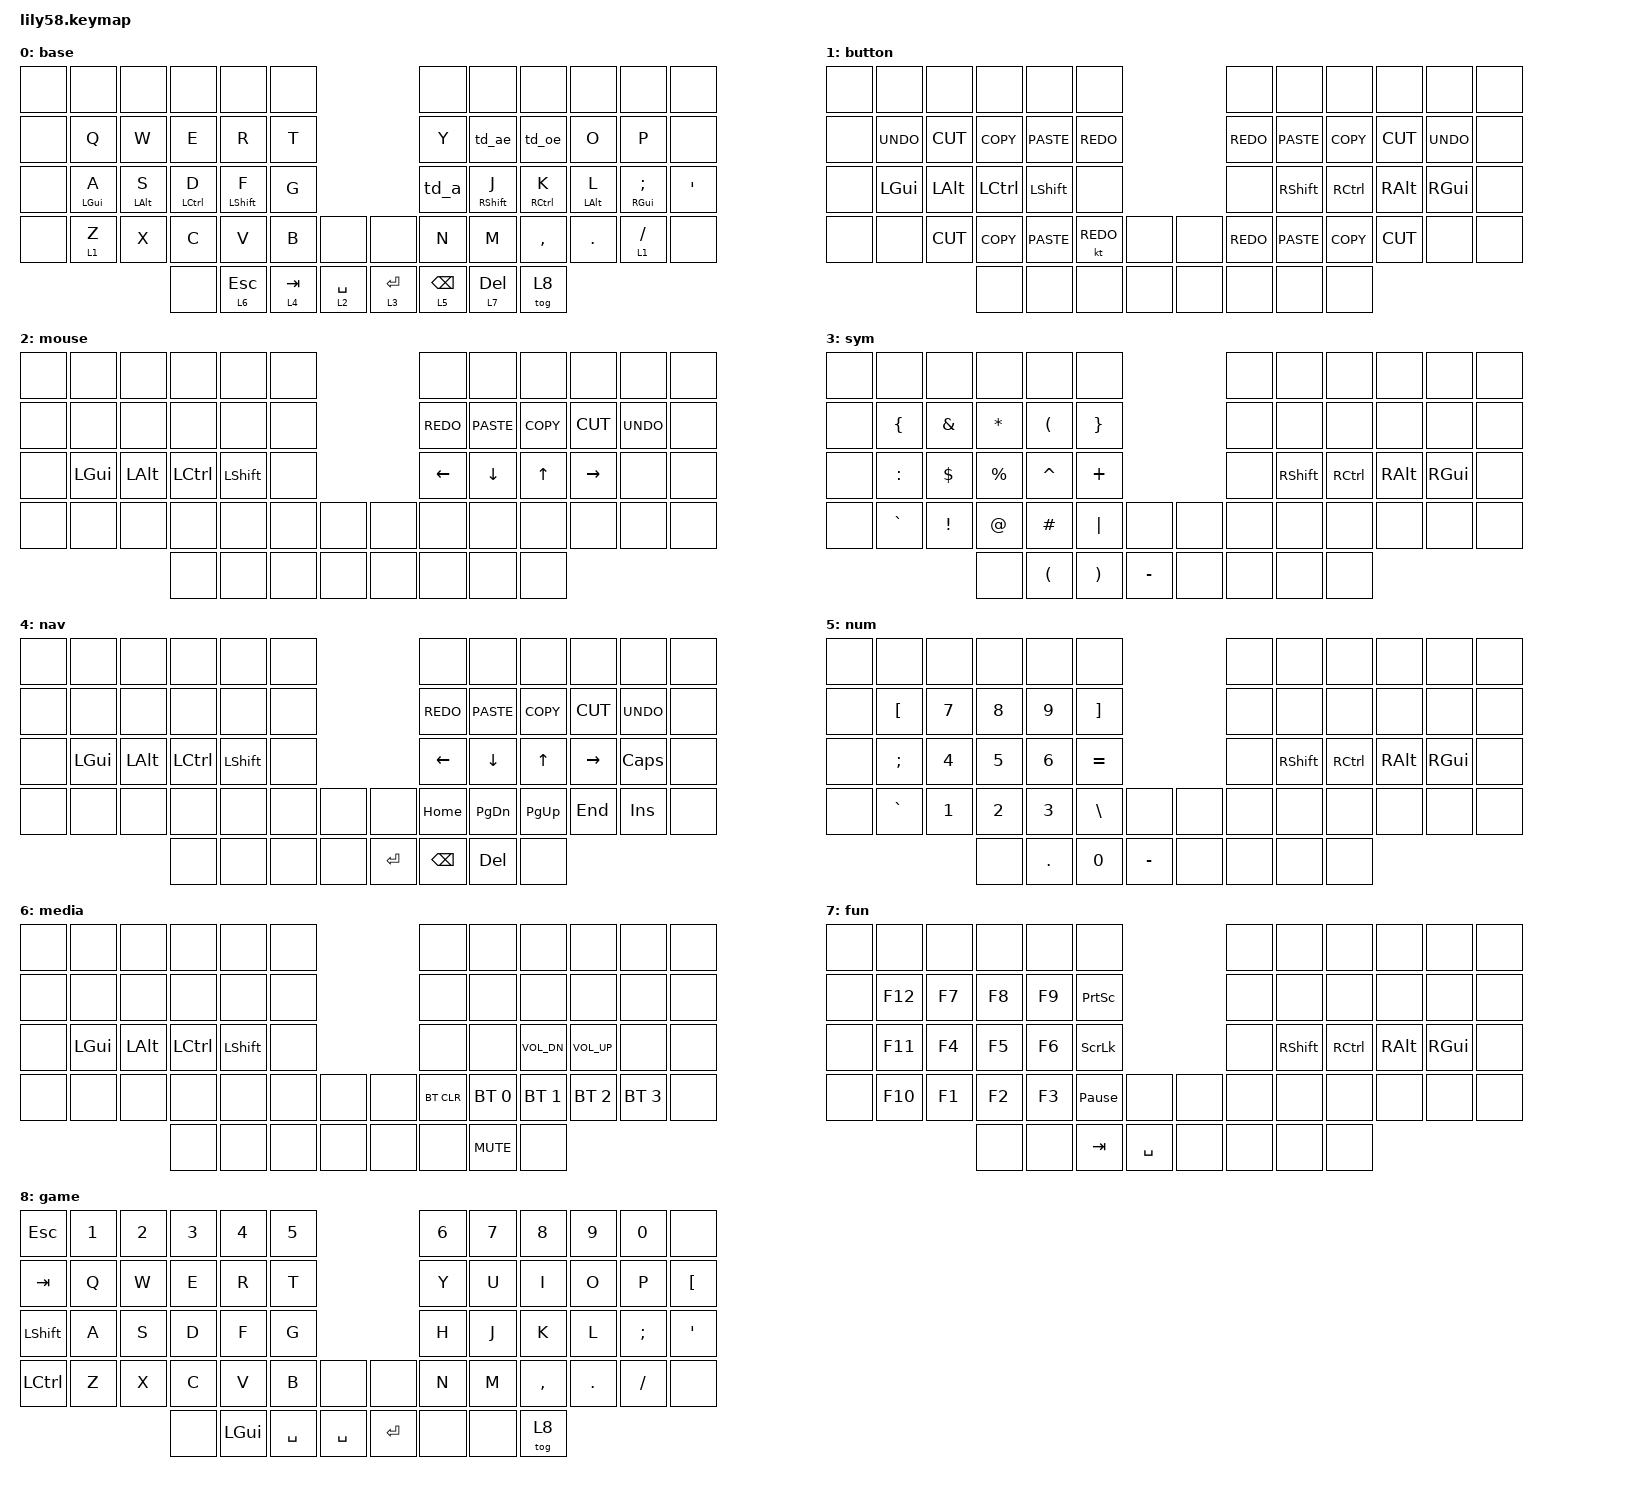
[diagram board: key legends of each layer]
/*
 * Copyright (c) 2020 The ZMK Contributors
 *
 * SPDX-License-Identifier: MIT
 */

#include <behaviors.dtsi>
#include <dt-bindings/zmk/bt.h>
#include <dt-bindings/zmk/keys.h>
#include <dt-bindings/zmk/keys.h>

&mt {
    flavor = "tap-preferred";
    tapping-term-ms = <175>;
};

/ {
    behaviors {
        td_a: td_a {
            compatible = "zmk,behavior-tap-dance";
            label = "TD_A";
            #binding-cells = <0>;
            bindings = <&kp H>, <&kp LA(A)>;

            tapping-term-ms = <150>;
        };

        td_ae: td_ae {
            compatible = "zmk,behavior-tap-dance";
            label = "TD_AE";
            #binding-cells = <0>;
            bindings = <&kp U>, <&ma_ae>;

            tapping-term-ms = <150>;
        };

        td_oe: td_oe {
            compatible = "zmk,behavior-tap-dance";
            label = "TD_OE";
            #binding-cells = <0>;
            bindings = <&kp I>, <&ma_oe>;

            tapping-term-ms = <150>;
        };
    };

    macros {
        ma_ae: ma_a {
            compatible = "zmk,behavior-macro";
            #binding-cells = <0>;
            bindings = <&kp LA(U) &kp A>;
            label = "MA_A";
        };

        ma_oe: ma_oe {
            compatible = "zmk,behavior-macro";
            #binding-cells = <0>;
            bindings = <&kp LA(U) &kp O>;
            label = "MA_OE";
        };
    };

    keymap {
        compatible = "zmk,keymap";

        base {
            // ------------------------------------------------------------------------------------------------------------
            // |  ESC  |  1  |  2  |  3   |  4   |  5   |                   |  6   |  7    |  8    |  9   |   0   |   `   |
            // |  TAB  |  Q  |  W  |  E   |  R   |  T   |                   |  Y   |  U    |  I    |  O   |   P   |   -   |
            // |  CTRL |  A  |  S  |  D   |  F   |  G   |                   |  H   |  J    |  K    |  L   |   ;   |   '   |
            // | SHIFT |  Z  |  X  |  C   |  V   |  B   |   "["  |  |  "]"  |  N   |  M    |  ,    |  .   |   /   | SHIFT |
            //                     | ALT  | GUI  | LOWER|  SPACE |  | ENTER | RAISE| BSPC  | GUI   |

            bindings = <
&none  &none       &none       &none        &none         &none                                   &none            &none         &none        &none       &none               &none
&none  &kp Q       &kp W       &kp E        &kp R         &kp T                                   &kp Y            &td_ae        &td_oe       &kp O       &kp P               &none
&none  &mt LGUI A  &mt LALT S  &mt LCTRL D  &mt LSHIFT F  &kp G                                   &td_a            &mt RSHIFT J  &mt RCTRL K  &mt LALT L  &mt RGUI SEMICOLON  &kp SQT
&none  &lt 1 Z     &kp X       &kp C        &kp V         &kp B      &none          &none         &kp N            &kp M         &kp COMMA    &kp DOT     &lt 1 SLASH         &none
                               &none        &lt 6 ESCAPE  &lt 4 TAB  &lt 2 SPACE    &lt 3 RETURN  &lt 5 BACKSPACE  &lt 7 DELETE  &tog 8
            >;
        };

        button {
            bindings = <
&none  &none       &none      &none       &none        &none                       &none       &none        &none       &none      &none       &none
&none  &kp K_UNDO  &kp K_CUT  &kp K_COPY  &kp K_PASTE  &kp K_REDO                  &kp K_REDO  &kp K_PASTE  &kp K_COPY  &kp K_CUT  &kp K_UNDO  &none
&none  &kp LGUI    &kp LALT   &kp LCTRL   &kp LSHFT    &none                       &none       &kp RSHFT    &kp RCTRL   &kp RALT   &kp RGUI    &none
&none  &none       &kp K_CUT  &kp K_COPY  &kp K_PASTE  &kt K_REDO  &none    &none  &kp K_REDO  &kp K_PASTE  &kp K_COPY  &kp K_CUT  &none       &none
                              &none       &none        &none       &none    &none  &none       &none        &none
            >;
        };

        mouse {
            bindings = <
&none  &none     &none     &none      &none      &none                  &none       &none        &none       &none      &none       &none
&none  &none     &none     &none      &none      &none                  &kp K_REDO  &kp K_PASTE  &kp K_COPY  &kp K_CUT  &kp K_UNDO  &none
&none  &kp LGUI  &kp LALT  &kp LCTRL  &kp LSHFT  &none                  &kp LEFT    &kp DOWN     &kp UP      &kp RIGHT  &none       &none
&none  &none     &none     &none      &none      &none  &none    &none  &none       &none        &none       &none      &none       &none
                           &none      &none      &none  &none    &none  &none       &none        &none
            >;
        };

        sym {
            bindings = <
&none  &none           &none     &none      &none                 &none                                      &none  &none      &none      &none     &none     &none
&none  &kp LEFT_BRACE  &kp AMPS  &kp ASTRK  &kp LEFT_PARENTHESIS  &kp RIGHT_BRACE                            &none  &none      &none      &none     &none     &none
&none  &kp COLON       &kp DLLR  &kp PRCNT  &kp CARET             &kp PLUS                                   &none  &kp RSHFT  &kp RCTRL  &kp RALT  &kp RGUI  &none
&none  &kp GRAVE       &kp EXCL  &kp AT     &kp HASH              &kp PIPE               &none        &none  &none  &none      &none      &none     &none     &none
                                 &none      &kp LEFT_PARENTHESIS  &kp RIGHT_PARENTHESIS  &kp MINUS    &none  &none  &none      &none
            >;
        };

        nav {
            bindings = <
&none  &none     &none     &none      &none      &none                      &none          &none        &none       &none      &none       &none
&none  &none     &none     &none      &none      &none                      &kp K_REDO     &kp K_PASTE  &kp K_COPY  &kp K_CUT  &kp K_UNDO  &none
&none  &kp LGUI  &kp LALT  &kp LCTRL  &kp LSHFT  &none                      &kp LEFT       &kp DOWN     &kp UP      &kp RIGHT  &kp CAPS    &none
&none  &none     &none     &none      &none      &none  &none    &none      &kp HOME       &kp PG_DN    &kp PG_UP   &kp END    &kp INSERT  &none
                           &none      &none      &none  &none    &kp ENTER  &kp BACKSPACE  &kp DEL      &none
            >;
        };

        num {
            bindings = <
&none  &none      &none   &none   &none    &none                          &none  &none      &none      &none     &none     &none
&none  &kp LBKT   &kp N7  &kp N8  &kp N9   &kp RBKT                       &none  &none      &none      &none     &none     &none
&none  &kp SEMI   &kp N4  &kp N5  &kp N6   &kp EQUAL                      &none  &kp RSHFT  &kp RCTRL  &kp RALT  &kp RGUI  &none
&none  &kp GRAVE  &kp N1  &kp N2  &kp N3   &kp BSLH   &none        &none  &none  &none      &none      &none     &none     &none
                          &none   &kp DOT  &kp N0     &kp MINUS    &none  &none  &none      &none
            >;
        };

        media {
            bindings = <
&none  &none     &none     &none      &none      &none                  &none       &none         &none         &none         &none         &none
&none  &none     &none     &none      &none      &none                  &none       &none         &none         &none         &none         &none
&none  &kp LGUI  &kp LALT  &kp LCTRL  &kp LSHFT  &none                  &none       &none         &kp K_VOL_DN  &kp K_VOL_UP  &none         &none
&none  &none     &none     &none      &none      &none  &none    &none  &bt BT_CLR  &bt BT_SEL 0  &bt BT_SEL 1  &bt BT_SEL 2  &bt BT_SEL 3  &none
                           &none      &none      &none  &none    &none  &none       &kp K_MUTE    &none
            >;
        };

        fun {
            bindings = <
&none  &none    &none   &none   &none   &none                                &none  &none      &none      &none     &none     &none
&none  &kp F12  &kp F7  &kp F8  &kp F9  &kp PRINTSCREEN                      &none  &none      &none      &none     &none     &none
&none  &kp F11  &kp F4  &kp F5  &kp F6  &kp SCROLLLOCK                       &none  &kp RSHFT  &kp RCTRL  &kp RALT  &kp RGUI  &none
&none  &kp F10  &kp F1  &kp F2  &kp F3  &kp PAUSE_BREAK  &none        &none  &none  &none      &none      &none     &none     &none
                        &none   &none   &kp TAB          &kp SPACE    &none  &none  &none      &none
            >;
        };

        game {
            bindings = <
&kp ESC    &kp N1  &kp N2  &kp N3  &kp N4    &kp N5                             &kp N6  &kp N7  &kp N8     &kp N9   &kp N0    &none
&kp TAB    &kp Q   &kp W   &kp E   &kp R     &kp T                              &kp Y   &kp U   &kp I      &kp O    &kp P     &kp LBKT
&kp LSHFT  &kp A   &kp S   &kp D   &kp F     &kp G                              &kp H   &kp J   &kp K      &kp L    &kp SEMI  &kp SQT
&kp LCTRL  &kp Z   &kp X   &kp C   &kp V     &kp B      &none        &none      &kp N   &kp M   &kp COMMA  &kp DOT  &kp FSLH  &none
                           &none   &kp LGUI  &kp SPACE  &kp SPACE    &kp ENTER  &none   &none   &tog 8
            >;
        };
    };
};
